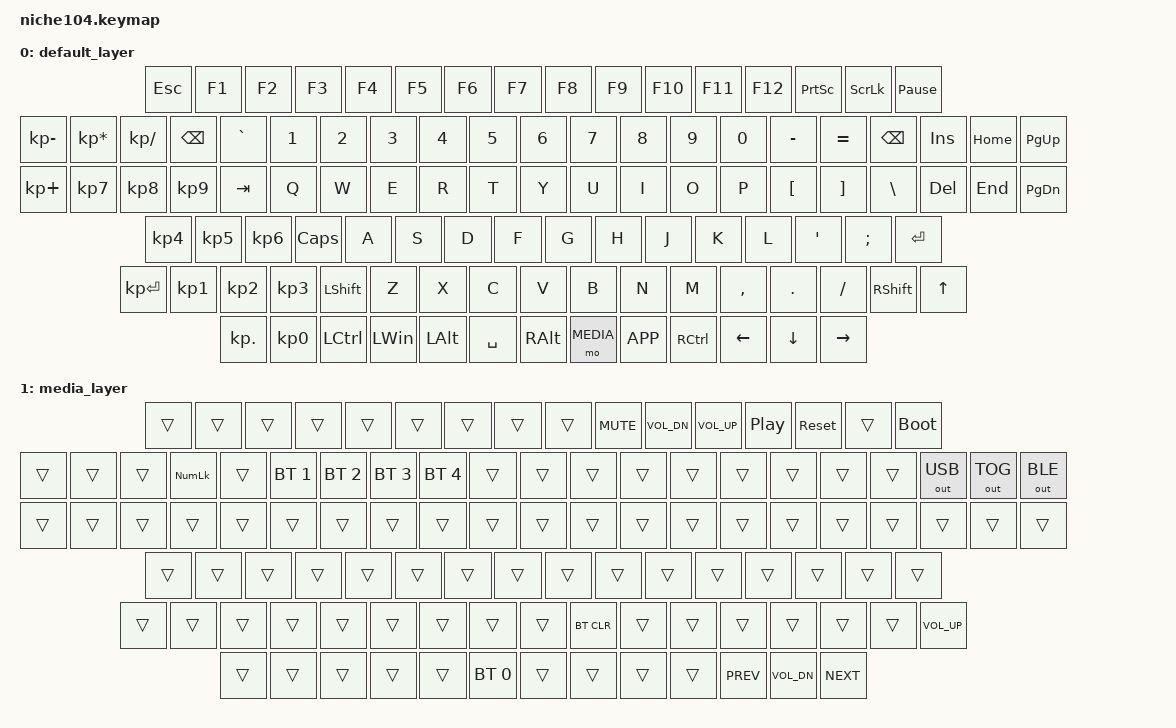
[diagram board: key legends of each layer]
/*
 * Copyright (c) 2021 Tyler Roy
 *
 * SPDX-License-Identifier: MIT
 */

#include <behaviors.dtsi>
#include <dt-bindings/zmk/keys.h>
#include <dt-bindings/zmk/bt.h>
#include <dt-bindings/zmk/outputs.h>


#define DEFAULT 0
#define MEDIA	1
 



/ {
    keymap {
        compatible = "zmk,keymap";

        default_layer {
            bindings = <

                				        &kp ESC      &kp F1 &kp F2 &kp F3 &kp F4      &kp F5 &kp F6 &kp F7 &kp F8     &kp F9 &kp F10 &kp F11 &kp F12    &kp PSCRN &kp SCROLLLOCK &kp PAUSE_BREAK
&kp KP_MINUS &kp KP_MULTIPLY &kp KP_DIVIDE &kp BSPC     &kp GRAVE &kp N1 &kp N2 &kp N3 &kp N4 &kp N5 &kp N6 &kp N7 &kp N8 &kp N9 &kp N0 &kp MINUS &kp EQUAL &kp BSPC    &kp INS   &kp HOME       &kp PG_UP
&kp KP_PLUS  &kp KP_N7       &kp KP_N8     &kp KP_N9    &kp TAB   &kp Q  &kp W  &kp E  &kp R  &kp T  &kp Y  &kp U  &kp I  &kp O  &kp P  &kp LBKT  &kp RBKT  &kp BSLH    &kp DEL   &kp END        &kp PG_DN
             &kp KP_N4       &kp KP_N5     &kp KP_N6    &kp CAPS    &kp A  &kp S  &kp D  &kp F  &kp G  &kp H  &kp J  &kp K  &kp L  &kp APOS   &kp SEMI     &kp ENTER    
&kp KP_ENTER &kp KP_N1       &kp KP_N2     &kp KP_N3    &kp LSHFT    &kp Z  &kp X  &kp C  &kp V  &kp B  &kp N  &kp M  &kp COMMA  &kp PERIOD  &kp FSLH      &kp RSHFT              &kp UP
             &kp KP_DOT      &kp KP_N0                  &kp LCTRL   &kp LWIN   &kp LALT              &kp SPACE           &kp RALT   &mo MEDIA  &kp K_APP   &kp RCTRL    &kp LEFT  &kp DOWN       &kp RIGHT

	    >;
	};

	media_layer {
	    bindings = <

                		    &trans    &trans &trans &trans &trans    &trans &trans &trans &trans    &kp C_MUTE &kp C_VOL_DN &kp C_VOL_UP &kp C_PP                             &sys_reset    &trans        &bootloader
&trans &trans &trans &kp KP_NUM     &trans    &bt BT_SEL 1 &bt BT_SEL 2 &bt BT_SEL 3 &bt BT_SEL 4   &trans   &trans   &trans   &trans   &trans   &trans   &trans   &trans  &trans     &out OUT_USB  &out OUT_TOG  &out OUT_BLE
&trans &trans &trans &trans         &trans    &trans   &trans   &trans   &trans   &trans   &trans   &trans   &trans   &trans   &trans   &trans   &trans  &trans                       &trans        &trans        &trans
       &trans &trans &trans         &trans    &trans    &trans    &trans     &trans    &trans    &trans   &trans   &trans   &trans   &trans   &trans    &trans 
&trans &trans &trans &trans         &trans     &trans    &trans    &trans     &trans    &bt BT_CLR     &trans    &trans   &trans   &trans    &trans     &trans                                      &kp C_VOL_UP
       &trans        &trans         &trans      &trans      &trans                     &bt BT_SEL 0                  &trans     &trans      &trans      &trans                        &kp C_PREV    &kp C_VOL_DN   &kp C_NEXT

	    >;
	};
    };
};
